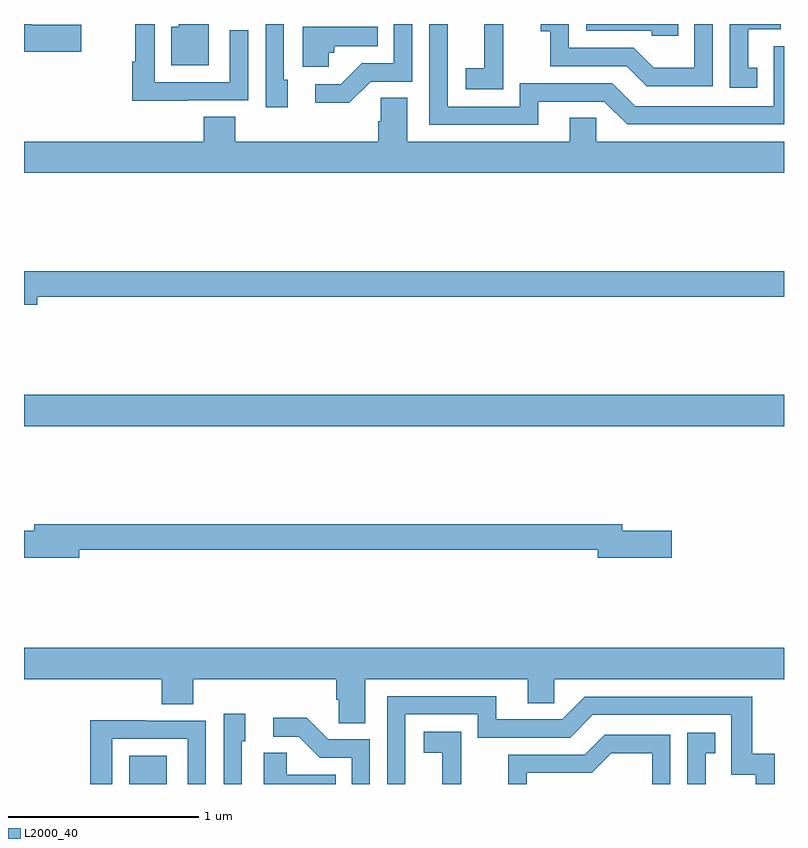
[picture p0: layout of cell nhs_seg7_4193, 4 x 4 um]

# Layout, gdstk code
import gdstk
lib = gdstk.Library(unit=1e-6, precision=1e-09)
def R(c, l, rs):  # rectangles x0, y0, x1, y1
    for r in rs: c.add(gdstk.rectangle(r[:2], r[2:], *l))
def P(c, l, *ps):  # polygons
    for p in ps: c.add(gdstk.Polygon(p, *l))
L2000_40 = (2000, 40)

nhs_seg7_4193 = lib.new_cell('nhs_seg7_4193')
R(nhs_seg7_4193, L2000_40, [(375.554,1064,375.751,1064.149), (375,1065.884,379,1066.048)])
P(nhs_seg7_4193, L2000_40, [(375.863,1067.598),(376.179,1067.598),(376.179,1067.968),(376.083,1067.968),(376.083,1067.694),(375.687,1067.694),(375.687,1068),(375.586,1068),(375.586,1067.801),(375.571,1067.801),(375.571,1067.597),(375.863,1067.597)],
  [(376.824,1067.697),(377.043,1067.697),(377.043,1068),(376.947,1068),(376.947,1067.793),(376.778,1067.793),(376.667,1067.682),(376.533,1067.682),(376.533,1067.585),(376.711,1067.585)],
  [(377.707,1067.592),(378.054,1067.592),(378.174,1067.472),(379,1067.472),(379,1067.883),(378.945,1067.883),(378.945,1067.568),(378.216,1067.568),(378.096,1067.688),(377.61,1067.688),(377.61,1067.565),(377.229,1067.565),(377.229,1068),(377.133,1068),(377.133,1067.469),(377.707,1067.469)],
  [(375.301,1067.996),(375.04,1067.996),(375.04,1068),(375,1068),(375,1067.854),(375.301,1067.854)],
  [(376.387,1067.706),(376.368,1067.706),(376.368,1068),(376.272,1068),(376.272,1067.562),(376.387,1067.562)],
  [(375.973,1068),(375.815,1068),(375.815,1067.986),(375.776,1067.986),(375.776,1067.783),(375.973,1067.783)],
  [(378.86,1067.769),(378.811,1067.769),(378.811,1067.973),(378.984,1067.973),(378.984,1068),(378.714,1068),(378.714,1067.664),(378.86,1067.664)],
  [(377.523,1067.863),(377.522,1067.863),(377.522,1068),(377.424,1068),(377.424,1067.996),(377.423,1067.996),(377.423,1067.767),(377.325,1067.767),(377.325,1067.657),(377.523,1067.657)],
  [(378.443,1068),(377.958,1068),(377.958,1067.964),(378.303,1067.964),(378.303,1067.937),(378.443,1067.937)],
  [(378.624,1068),(378.528,1068),(378.528,1067.77),(378.314,1067.77),(378.21,1067.874),(377.868,1067.874),(377.868,1068),(377.721,1068),(377.721,1067.963),(377.77,1067.963),(377.77,1067.778),(378.173,1067.778),(378.278,1067.673),(378.624,1067.673)],
  [(376.605,1067.85),(376.632,1067.85),(376.632,1067.882),(376.862,1067.882),(376.862,1067.986),(376.466,1067.986),(376.466,1067.774),(376.605,1067.774)],
  [(379,1067.38),(378.012,1067.38),(378.012,1067.507),(377.873,1067.507),(377.873,1067.38),(377.017,1067.38),(377.017,1067.612),(376.878,1067.612),(376.878,1067.489),(376.865,1067.489),(376.865,1067.38),(376.112,1067.38),(376.112,1067.513),(375.947,1067.513),(375.947,1067.38),(375,1067.38),(375,1067.216),(379,1067.216)],
  [(375.07,1066.564),(379,1066.564),(379,1066.7),(375,1066.7),(375,1066.522),(375.07,1066.522)],
  [(375.292,1065.232),(378.02,1065.232),(378.02,1065.19),(378.409,1065.19),(378.409,1065.332),(378.148,1065.332),(378.148,1065.368),(375.053,1065.368),(375.053,1065.332),(375,1065.332),(375,1065.19),(375.292,1065.19)],
  [(376.795,1064.552),(377.651,1064.552),(377.651,1064.425),(377.79,1064.425),(377.79,1064.552),(379,1064.552),(379,1064.716),(375,1064.716),(375,1064.552),(375.725,1064.552),(375.725,1064.419),(375.89,1064.419),(375.89,1064.552),(376.643,1064.552),(376.643,1064.443),(376.656,1064.443),(376.656,1064.32),(376.795,1064.32)],
  [(377.007,1064.367),(377.388,1064.367),(377.388,1064.244),(377.874,1064.244),(377.994,1064.364),(378.723,1064.364),(378.723,1064.049),(378.852,1064.049),(378.852,1064),(378.95,1064),(378.95,1064.158),(378.832,1064.158),(378.832,1064.46),(377.952,1064.46),(377.832,1064.34),(377.485,1064.34),(377.485,1064.463),(376.911,1064.463),(376.911,1064),(377.007,1064)],
  [(376.146,1064.226),(376.165,1064.226),(376.165,1064.371),(376.05,1064.371),(376.05,1064),(376.146,1064)],
  [(376.821,1064.235),(376.602,1064.235),(376.489,1064.348),(376.311,1064.348),(376.311,1064.25),(376.445,1064.25),(376.556,1064.139),(376.725,1064.139),(376.725,1064),(376.821,1064)],
  [(375.465,1064.238),(375.861,1064.238),(375.861,1064),(375.957,1064),(375.957,1064.334),(375.641,1064.334),(375.641,1064.336),(375.349,1064.336),(375.349,1064),(375.465,1064)],
  [(377.3,1064.069),(377.301,1064.069),(377.301,1064.275),(377.103,1064.275),(377.103,1064.165),(377.201,1064.165),(377.201,1064),(377.3,1064)],
  [(378.589,1064.163),(378.638,1064.163),(378.638,1064.269),(378.492,1064.269),(378.492,1064),(378.589,1064)],
  [(377.646,1064.058),(377.988,1064.058),(378.092,1064.162),(378.306,1064.162),(378.306,1064),(378.402,1064),(378.402,1064.259),(378.056,1064.259),(377.951,1064.154),(377.548,1064.154),(377.548,1064),(377.646,1064)],
  [(376.64,1064.05),(376.383,1064.05),(376.383,1064.165),(376.262,1064.165),(376.262,1064),(376.64,1064)])

lib.write_gds('nhs_seg7_4193.gds')
